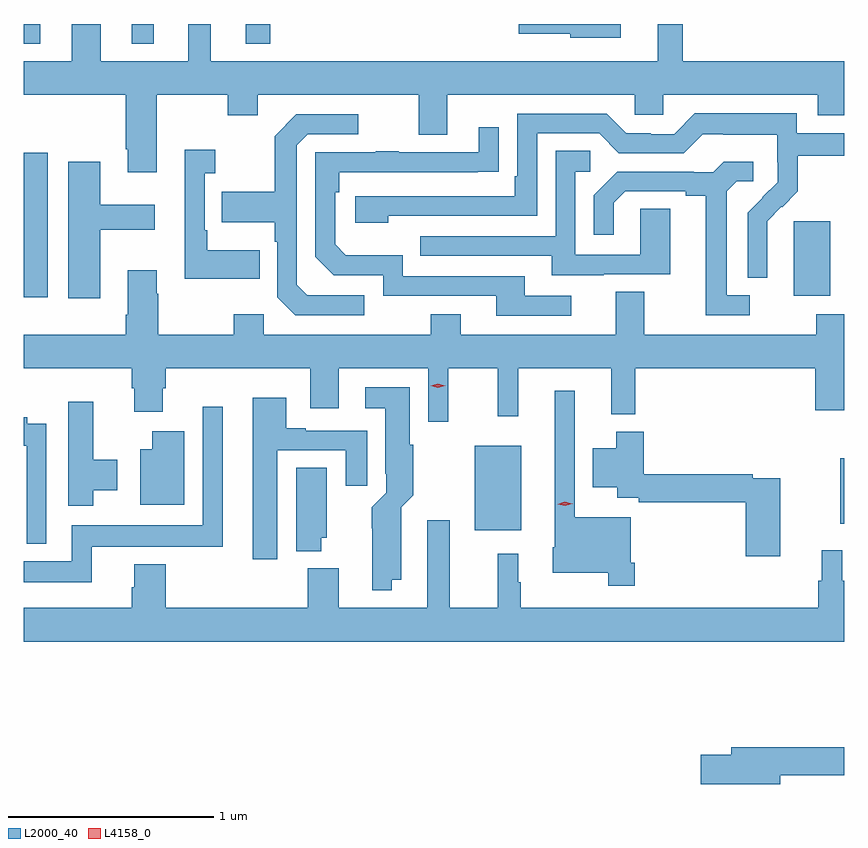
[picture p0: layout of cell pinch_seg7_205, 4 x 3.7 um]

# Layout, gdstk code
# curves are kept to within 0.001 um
import gdstk
lib = gdstk.Library(unit=1e-6, precision=1e-09)
def R(c, l, rs):  # rectangles x0, y0, x1, y1
    for r in rs: c.add(gdstk.rectangle(r[:2], r[2:], *l))
def P(c, l, *ps):  # polygons
    for p in ps: c.add(gdstk.Polygon(p, *l))
L2000_40 = (2000, 40)
L4158_0 = (4158, 0)

pinch_seg7_205 = lib.new_cell('pinch_seg7_205')
R(pinch_seg7_205, L2000_40, [(684.158,1002.491,684.385,1002.901), (685.939,1002.522,685.96,1002.841), (681.96,1003.626,682.078,1004.329), (685.712,1003.634,685.891,1003.995), (681.96,1004.861,682.042,1004.957), (682.487,1004.861,682.594,1004.957), (683.042,1004.861,683.161,1004.957)])
P(pinch_seg7_205, L2000_40, [(684.871,1004.957),(684.372,1004.957),(684.372,1004.909),(684.624,1004.909),(684.624,1004.891),(684.871,1004.891)],
  [(682.609,1004.612),(682.954,1004.612),(682.954,1004.513),(683.101,1004.513),(683.101,1004.612),(683.885,1004.612),(683.885,1004.418),(684.025,1004.418),(684.025,1004.612),(684.939,1004.612),(684.939,1004.514),(685.077,1004.514),(685.077,1004.612),(685.829,1004.612),(685.829,1004.513),(685.96,1004.513),(685.96,1004.776),(685.171,1004.776),(685.171,1004.957),(685.049,1004.957),(685.049,1004.776),(682.873,1004.776),(682.873,1004.957),(682.763,1004.957),(682.763,1004.776),(682.336,1004.776),(682.336,1004.957),(682.196,1004.957),(682.196,1004.776),(681.96,1004.776),(681.96,1004.612),(682.457,1004.612),(682.457,1004.347),(682.469,1004.347),(682.469,1004.235),(682.609,1004.235)],
  [(685.584,1003.874),(685.583,1003.997),(685.653,1004.067),(685.656,1004.064),(685.733,1004.141),(685.733,1004.316),(685.96,1004.316),(685.96,1004.424),(685.728,1004.424),(685.728,1004.521),(685.231,1004.521),(685.131,1004.421),(685.016,1004.421),(685.016,1004.424),(684.897,1004.424),(684.801,1004.52),(684.366,1004.52),(684.366,1004.215),(684.353,1004.215),(684.353,1004.118),(683.577,1004.118),(683.577,1003.988),(683.738,1003.988),(683.738,1004.022),(684.462,1004.022),(684.462,1004.424),(684.765,1004.424),(684.861,1004.328),(685.176,1004.328),(685.269,1004.421),(685.369,1004.421),(685.369,1004.417),(685.632,1004.417),(685.632,1004.283),(685.634,1004.283),(685.634,1004.186),(685.488,1004.038),(685.488,1003.72),(685.584,1003.72)],
  [(683.62,1003.635),(683.343,1003.635),(683.292,1003.686),(683.292,1004.367),(683.346,1004.421),(683.59,1004.421),(683.59,1004.517),(683.289,1004.517),(683.184,1004.411),(683.184,1004.139),(682.927,1004.139),(682.927,1003.991),(683.184,1003.991),(683.184,1003.895),(683.196,1003.895),(683.196,1003.626),(683.283,1003.539),(683.62,1003.539)],
  [(684.628,1003.632),(684.403,1003.632),(684.403,1003.728),(683.808,1003.728),(683.808,1003.831),(683.531,1003.831),(683.478,1003.884),(683.478,1004.138),(683.498,1004.138),(683.498,1004.235),(684.275,1004.236),(684.275,1004.455),(684.179,1004.455),(684.179,1004.331),(683.789,1004.331),(683.789,1004.336),(683.677,1004.336),(683.677,1004.331),(683.382,1004.331),(683.382,1003.824),(683.472,1003.734),(683.712,1003.734),(683.712,1003.632),(684.263,1003.632),(684.263,1003.536),(684.628,1003.536)],
  [(683.111,1003.855),(682.855,1003.855),(682.855,1003.951),(682.842,1003.951),(682.842,1004.231),(682.894,1004.231),(682.894,1004.344),(682.745,1004.344),(682.745,1003.715),(683.111,1003.715)],
  [(684.787,1003.737),(685.111,1003.737),(685.111,1004.057),(684.966,1004.057),(684.966,1003.833),(684.648,1003.833),(684.648,1004.238),(684.721,1004.238),(684.721,1004.339),(684.552,1004.339),(684.552,1003.923),(683.893,1003.923),(683.893,1003.827),(684.533,1003.827),(684.533,1003.733),(684.787,1003.733)],
  [(685.498,1003.635),(685.387,1003.635),(685.387,1004.143),(685.434,1004.19),(685.516,1004.19),(685.516,1004.287),(685.372,1004.287),(685.32,1004.235),(685.226,1004.235),(685.226,1004.238),(684.854,1004.238),(684.738,1004.122),(684.738,1003.929),(684.835,1003.929),(684.835,1004.085),(684.892,1004.142),(685.187,1004.142),(685.187,1004.12),(685.283,1004.12),(685.283,1003.539),(685.498,1003.539)],
  [(682.333,1003.955),(682.6,1003.955),(682.6,1004.077),(682.333,1004.077),(682.333,1004.287),(682.178,1004.287),(682.178,1003.62),(682.333,1003.62)],
  [(682.487,1003.182),(682.499,1003.182),(682.499,1003.068),(682.639,1003.068),(682.639,1003.182),(682.652,1003.182),(682.652,1003.28),(683.357,1003.28),(683.357,1003.086),(683.497,1003.086),(683.497,1003.28),(683.931,1003.28),(683.931,1003.02),(684.03,1003.02),(684.03,1003.28),(684.271,1003.28),(684.271,1003.047),(684.371,1003.047),(684.371,1003.28),(684.824,1003.28),(684.824,1003.055),(684.941,1003.055),(684.941,1003.28),(685.817,1003.28),(685.817,1003.074),(685.96,1003.074),(685.96,1003.543),(685.822,1003.543),(685.822,1003.444),(684.985,1003.444),(684.985,1003.652),(684.845,1003.652),(684.845,1003.444),(684.091,1003.444),(684.091,1003.543),(683.944,1003.543),(683.944,1003.444),(683.13,1003.444),(683.13,1003.543),(682.984,1003.543),(682.984,1003.444),(682.617,1003.444),(682.617,1003.643),(682.609,1003.643),(682.609,1003.756),(682.469,1003.756),(682.469,1003.54),(682.457,1003.54),(682.457,1003.444),(681.96,1003.444),(681.96,1003.28),(682.487,1003.28)],
  [(683.755,1002.248),(683.8,1002.248),(683.801,1002.602),(683.86,1002.661),(683.86,1002.906),(683.842,1002.906),(683.842,1003.186),(683.625,1003.186),(683.625,1003.085),(683.723,1003.085),(683.723,1002.766),(683.727,1002.766),(683.727,1002.672),(683.657,1002.602),(683.658,1002.197),(683.755,1002.197)],
  [(684.938,1002.331),(684.918,1002.331),(684.918,1002.553),(684.645,1002.553),(684.645,1003.171),(684.548,1003.171),(684.548,1002.408),(684.539,1002.408),(684.539,1002.284),(684.81,1002.284),(684.81,1002.219),(684.938,1002.219)],
  [(683.197,1002.879),(683.531,1002.879),(683.531,1002.708),(683.635,1002.708),(683.635,1002.975),(683.335,1002.975),(683.335,1002.988),(683.239,1002.988),(683.239,1003.135),(683.078,1003.135),(683.078,1002.348),(683.197,1002.348)],
  [(682.3,1002.686),(682.417,1002.686),(682.417,1002.834),(682.3,1002.834),(682.3,1003.117),(682.178,1003.117),(682.178,1002.609),(682.3,1002.609)],
  [(682.292,1002.41),(682.93,1002.41),(682.93,1003.093),(682.833,1003.093),(682.833,1002.514),(682.194,1002.514),(682.194,1002.34),(681.96,1002.34),(681.96,1002.236),(682.292,1002.236)],
  [(682.071,1003.009),(681.979,1003.009),(681.979,1003.042),(681.96,1003.042),(681.96,1002.902),(681.975,1002.902),(681.975,1002.425),(682.071,1002.425)],
  [(682.744,1002.973),(682.586,1002.973),(682.586,1002.886),(682.529,1002.886),(682.529,1002.614),(682.744,1002.614)],
  [(685.648,1002.744),(685.514,1002.744),(685.514,1002.764),(684.983,1002.764),(684.983,1002.97),(684.848,1002.97),(684.848,1002.889),(684.734,1002.889),(684.734,1002.701),(684.854,1002.701),(684.854,1002.648),(684.958,1002.648),(684.958,1002.628),(685.478,1002.628),(685.478,1002.363),(685.648,1002.363)],
  [(683.41,1002.453),(683.437,1002.453),(683.437,1002.794),(683.288,1002.794),(683.288,1002.389),(683.41,1002.389)],
  [(685.96,1002.245),(685.948,1002.245),(685.948,1002.394),(685.85,1002.394),(685.85,1002.245),(685.831,1002.245),(685.831,1002.112),(684.382,1002.112),(684.382,1002.236),(684.37,1002.236),(684.37,1002.376),(684.271,1002.376),(684.271,1002.112),(684.037,1002.112),(684.037,1002.538),(683.927,1002.538),(683.927,1002.112),(683.497,1002.112),(683.497,1002.304),(683.345,1002.304),(683.345,1002.112),(682.652,1002.112),(682.652,1002.325),(682.499,1002.325),(682.499,1002.213),(682.487,1002.213),(682.487,1002.112),(681.96,1002.112),(681.96,1001.948),(685.96,1001.948)],
  [(685.648,1001.296),(685.96,1001.296),(685.96,1001.432),(685.409,1001.432),(685.409,1001.396),(685.26,1001.396),(685.26,1001.254),(685.648,1001.254)])
P(pinch_seg7_205, L4158_0, [(684.599,1002.609),(684.563,1002.617),(684.563,1002.617),(684.563,1002.618),(684.598,1002.629),(684.634,1002.62),(684.635,1002.62),(684.634,1002.62)],
  [(683.979,1003.184),(683.943,1003.194),(683.943,1003.194),(683.943,1003.195),(683.979,1003.204),(684.015,1003.195),(684.016,1003.194),(684.015,1003.194)])

lib.write_gds('pinch_seg7_205.gds')
